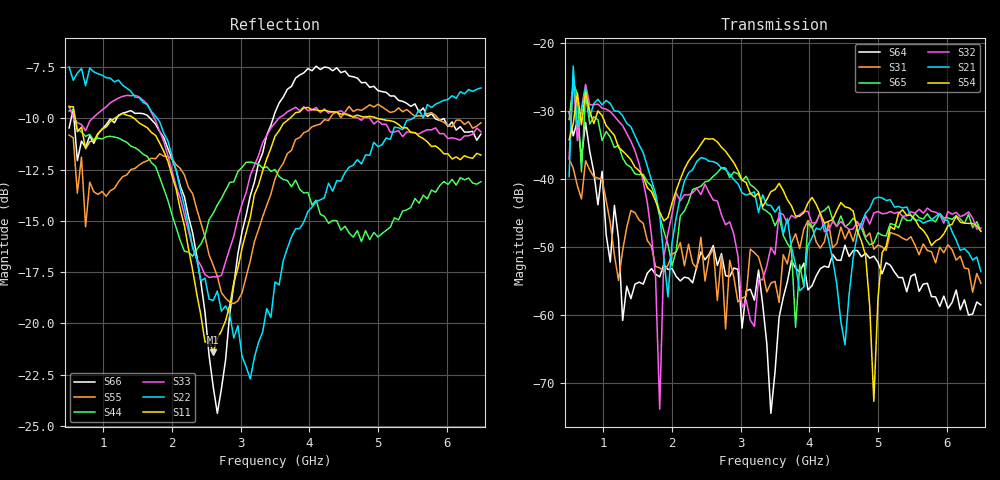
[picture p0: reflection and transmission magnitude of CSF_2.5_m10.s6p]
!Keysight Technologies,M9804A,MY58100912,A.14.10.03
!Date: Thursday, April 27, 2023 10:28:33
!Correction: S11(C  6-Port  )
!S12(C  6-Port  )
!S13(C  6-Port  )
!S14(C  6-Port  )
!S15(C  6-Port  )
!S16(C  6-Port  )
!S21(C  6-Port  )
!S22(C  6-Port  )
!S23(C  6-Port  )
!S24(C  6-Port  )
!S25(C  6-Port  )
!S26(C  6-Port  )
!S31(C  6-Port  )
!S32(C  6-Port  )
!S33(C  6-Port  )
!S34(C  6-Port  )
!S35(C  6-Port  )
!S36(C  6-Port  )
!S41(C  6-Port  )
!S42(C  6-Port  )
!S43(C  6-Port  )
!S44(C  6-Port  )
!S45(C  6-Port  )
!S46(C  6-Port  )
!S51(C  6-Port  )
!S52(C  6-Port  )
!S53(C  6-Port  )
!S54(C  6-Port  )
!S55(C  6-Port  )
!S56(C  6-Port  )
!S61(C  6-Port  )
!S62(C  6-Port  )
!S63(C  6-Port  )
!S64(C  6-Port  )
!S65(C  6-Port  )
!S66(C  6-Port  )
!S6P File: Measurement: :
# Hz S  RI  R 50
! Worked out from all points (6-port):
!   101 points, 500 MHz to 6.5 GHz, reference 50 ohm
!   strongest paths, dB at 500 MHz, 2 GHz, 3.5 GHz, 5 GHz, 6.5 GHz:
!     S54: -34.3, -43.6, -41.6, -57.7, -47.7
!     S21: -39.7, -49.4, -44.9, -42.7, -53.7
!     S32: -37.0, -45.2, -51.1, -44.8, -47.2
!     S65: -31.3, -52.8, -46.9, -47.9, -47.7
!     S31: -37.1, -51.1, -55.1, -49.7, -55.3
!     S64: -30.2, -53.2, -68.5, -52.3, -58.6
!   lowest |S11| = -21.4 dB at 2.6 GHz (marker M1), VSWR 1.19, Z = 42.4 + j2.17 ohm
!   |S11| at or under -10 dB: 588.1 MHz to 1.163 GHz (575.3 MHz wide, 65.7 % of centre); 1.445 GHz to 3.715 GHz (2.27 GHz wide, 88 % of centre); 4.986 GHz to end of sweep
